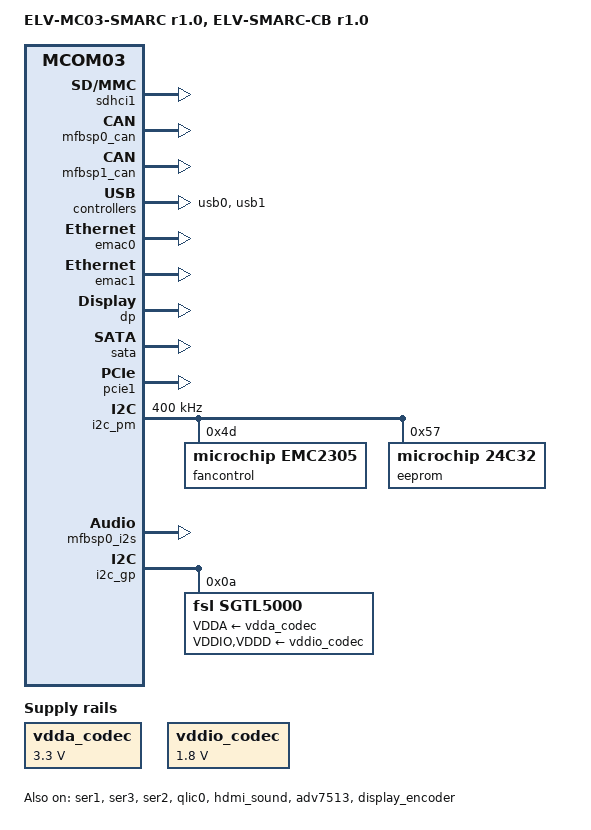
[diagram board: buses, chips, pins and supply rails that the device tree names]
// SPDX-License-Identifier: GPL-2.0+
/*
 * Copyright 2022 RnD Center "ELVEES", JSC
 */

/dts-v1/;

#include <dt-bindings/gpio/gpio.h>

#include "mcom03-elvmc03smarc-r1.0.dtsi"

/ {
	model = "ELV-MC03-SMARC r1.0, ELV-SMARC-CB r1.0";
	compatible = "elvees,elvmc03smarc-r1.0-elvsmarccb-r1.0",
		     "elvees,elvmc03smarc-elvsmarccb",
		     "elvees,elvsmarccb-r1.0",
		     "elvees,elvsmarccb",
		     "elvees,elvmc03smarc-r1.0",
		     "elvees,elvmc03smarc",
		     "elvees,mcom03";

	chosen {
		stdout-path = "serial0:115200n8";
		bootargs = "earlycon console=ttyS0,115200";
	};

	vdda_codec: vdda-codec {
		compatible = "regulator-fixed";
		regulator-name = "vdda-codec";
		regulator-min-microvolt = <3300000>;
		regulator-max-microvolt = <3300000>;
		regulator-always-on;
	};

	vddio_codec: vddio-codec {
		compatible = "regulator-fixed";
		regulator-name = "vddio-codec";
		regulator-min-microvolt = <1800000>;
		regulator-max-microvolt = <1800000>;
		regulator-always-on;
	};

	/* TRS (3.5mm jack) connected to SGTL5000 codec.
	   SGTL5000 connected to MCom-03 MFBSP0 as I2S master.
	   */
	aux_sound {
		compatible = "simple-audio-card";
		simple-audio-card,name = "mfbsp-sgtl5000";
		simple-audio-card,format = "i2s";
		simple-audio-card,bitclock-master = <&dailink1_master>;
		simple-audio-card,frame-master = <&dailink1_master>;

		simple-audio-card,cpu {
			sound-dai = <&mfbsp0_i2s>;
		};

		dailink1_master: simple-audio-card,codec {
			sound-dai = <&sgtl5000>;
		};
	};
};

/* Connected to USB Type-C Debug UART */
&ser1 {
	status = "okay";
};

/* Connected to USB Type-C Debug UART */
&ser3 {
	status = "okay";
};

/* Connected to Raspberry Pi header */
&ser2 {
	status = "okay";
};

&sdhci1 {
	status = "okay";

	/* Disable 1.8V support
	 * Disable SDR50, SDR104 and DDR50 support
	 */
	sdhci-caps-mask = <0x7 0x4000000>;
	sdhci-caps = <0x0 0x0>;
};

&sdhci1_default {
	/* The default clock pad drive strength of 6 mA is insufficient
	 * for ELV-SMARC-CB resulting in unstable SDMMC performance
	 * (possibly due to a PCB bug).
	 */
	clk {
		pins = "SDMMC1_CLK";
		drive-strength = <8>;
	};
};

&qlic0 {
	status = "okay";
};

/* Connected to XP16 socket through CAN transceiver */
&mfbsp0_can {
	status = "okay";
};

/* Connected to XP16 socket through CAN transceiver */
&mfbsp1_can {
	status = "okay";
};

/* Connected to USB 3.0 hub */
&usb0 {
	status = "okay";
};

/* Connected to USB 2.0 hub */
&usb1 {
	status = "okay";
};

/* Connected to RJ-45 */
&emac0 {
	status = "okay";
};

/* Connected to RJ-45 */
&emac1 {
	status = "okay";
};

/* The board has a video output interface */
&dp {
	status = "okay";
};

&hdmi_sound {
	status = "okay";
};

/* Connected to HDMI plug */
&adv7513 {
	status = "okay";
};

&display_encoder {
	status = "okay";
	video-output = "rgb";
};

/* Connected to SATA plug */
&sata {
	status = "okay";
};

/* Connected to PCIe bridge */
&pcie1 {
	status = "okay";
};

&i2c_pm {
	status = "okay";
	clock-frequency = <400000>;

	fancontrol: emc2303@4d {
		compatible = "microchip,emc2305";
		reg = <0x4d>;
		#address-cells = <1>;
		#size-cells = <0>;
		microchip,pwm-separate;
		#cooling-cells = <2>;

		channel@0 {
			reg = <0>;
			microchip,pwm-push-pull;
		};

		channel@1 {
			reg = <1>;
			microchip,pwm-push-pull;
		};

		channel@2 {
			reg = <2>;
			microchip,pwm-push-pull;
		};
	};

	eeprom@57 {
		compatible = "microchip,24c32", "atmel,24c32";
		reg = <0x57>;
	};
};

/*
 * The fans are enabled on boot (a hardware feature).
 * The fan controller driver disables them if the CPU temperature is
 * lower than the trip point.
 * Upon reaching the trip point the thermal subsystem driver enables the fans.
 *
 * Thermal zones can be enabled/disabled via sysfs by writing said state into
 * the corresponding /sys/class/thermal/thermal_zoneX/mode file.
 */
&cpu_thermal {
	cooling_maps: cooling-maps {
		map0 {
			trip = <&cpu_alert0>;
			cooling-device = <&fancontrol
					  THERMAL_NO_LIMIT
					  THERMAL_NO_LIMIT>;
		};
	};
};

&audio_mclk {
	status = "okay";
};

/* SMARC S38-42 (I2S0*) pins connected to mfbsp0 */
&mfbsp0_i2s {
	status = "okay";
};

/* mfbsp0 interrupt controller */
&qlic0 {
	status = "okay";
};

/*
 * SMARC pins S48-49 (I2C_GP*) connected to SGTL5000.
 *
 * ELV-SMARC-CB has 2.2 kOhm mic bias resistor (which differs from 2 kOhm
 * recommended in chip datasheet).
 *
 * It's not a universally applicable standard for mic jack voltage bias,
 * but Android publishes specifications [1] for headset plug and jack
 * with 1.8-2.9 V range and Reference Headset Test Circuit to 2.2V mic bias
 * applied through 2.2 kOhm resistor.
 *
 * [1] https://source.android.com/docs/core/interaction/accessories/headset/jack-headset-spec#general
 */
&i2c_gp {
	status = "okay";

	sgtl5000: codec@a {
		status = "okay";
		compatible = "fsl,sgtl5000";
		reg = <0x0a>;
		#sound-dai-cells = <0>;
		clocks = <&audio_mclk>;
		clock-names = "mclk";
		micbias-resistor-k-ohms = <2>;
		micbias-voltage-m-volts = <2250>;
		VDDA-supply = <&vdda_codec>;
		VDDIO-supply = <&vddio_codec>;
		VDDD-supply = <&vddio_codec>;
	};
};
